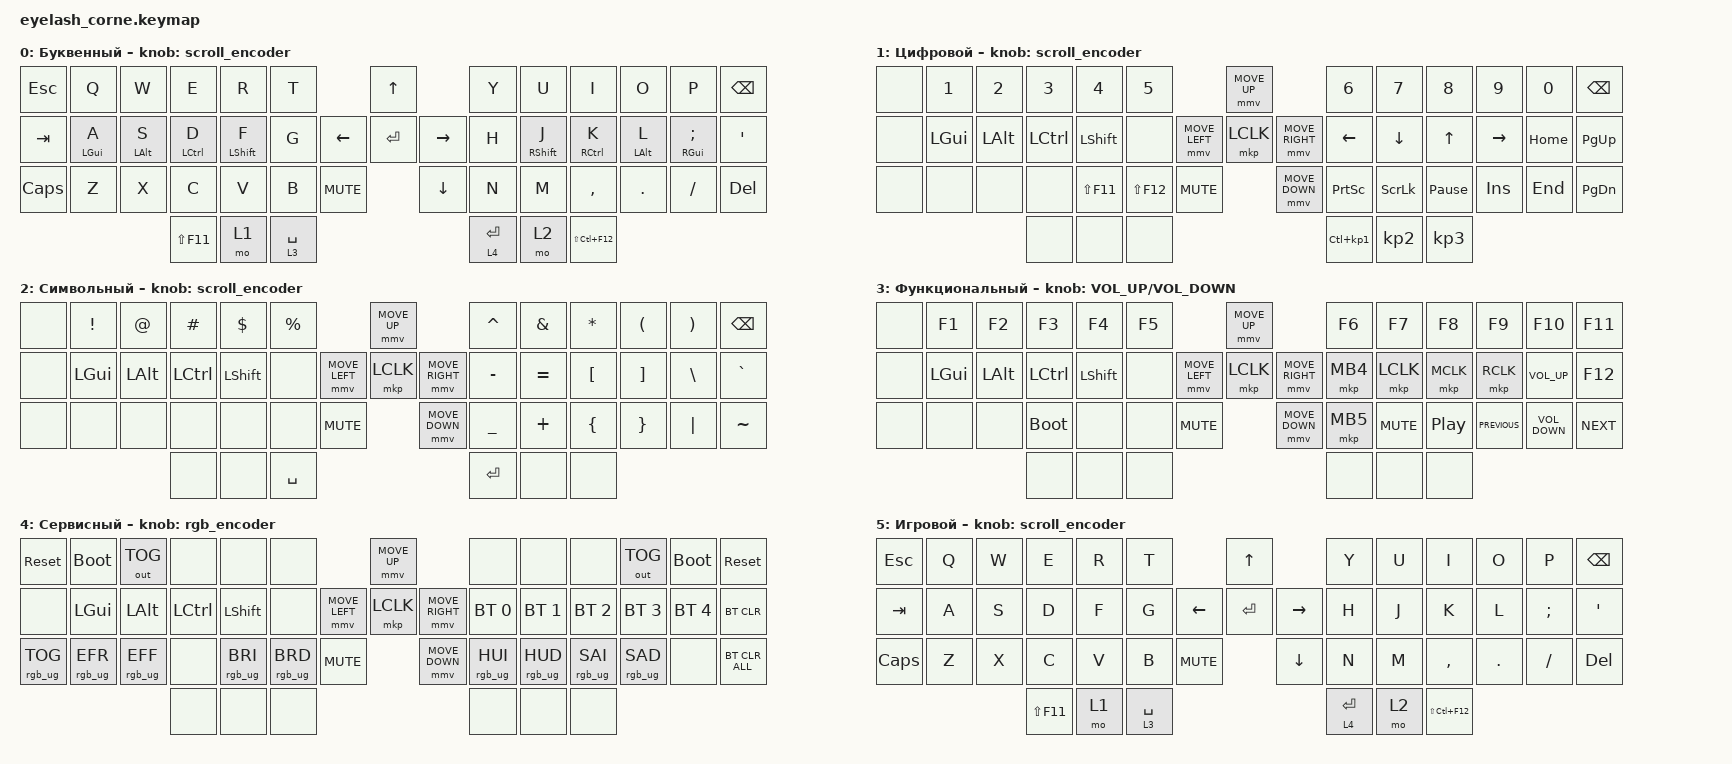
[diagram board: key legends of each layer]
#define ZMK_POINTING_DEFAULT_MOVE_VAL 1200  // 600
#define ZMK_POINTING_DEFAULT_SCRL_VAL 25   // 10

#include <input/processors.dtsi>
#include <zephyr/dt-bindings/input/input-event-codes.h>
#include <behaviors.dtsi>
#include <dt-bindings/zmk/bt.h>
#include <dt-bindings/zmk/keys.h>
#include <dt-bindings/zmk/outputs.h>
#include <dt-bindings/zmk/pointing.h>
#include <dt-bindings/zmk/rgb.h>

&mmv_input_listener { input-processors = <&zip_xy_scaler 2 1>; };

&msc_input_listener { input-processors = <&zip_scroll_scaler 2 1>; };

&msc {
    acceleration-exponent = <1>;      // 0
    time-to-max-speed-ms = <100>;       // 300
    delay-ms = <0>;                   // 0
};

&mmv {
    time-to-max-speed-ms = <500>;
    acceleration-exponent = <1>;
    trigger-period-ms = <16>;
};

&soft_off { hold-time-ms = <2000>; };

/ {
    behaviors {
        td0: td0 {
            compatible = "zmk,behavior-tap-dance";
            display-name = "Shift/Caps Lock Tap Dance";
            #binding-cells = <0>;
            bindings = <&kp LEFT_SHIFT>, <&kp CAPS>;
        };
    };

    rgb_encoder: rgb_encoder {
        compatible = "zmk,behavior-sensor-rotate";
        #sensor-binding-cells = <0>;
        bindings = <&rgb_ug RGB_BRI>, <&rgb_ug RGB_BRD>;
    };

    scroll_encoder: scroll_encoder {
        compatible = "zmk,behavior-sensor-rotate";
        #sensor-binding-cells = <0>;
        bindings = <&msc SCRL_DOWN>, <&msc SCRL_UP>;

        tap-ms = <100>;
    };

    combos {
        compatible = "zmk,combos";

        Tilde {
            bindings = <&kp TILDE>;
            key-positions = <0 13>;
        };

        Left_Parenthesis {
            bindings = <&kp LEFT_PARENTHESIS>;
            key-positions = <3 2>;
        };

        Right_Parenthesis {
            bindings = <&kp RIGHT_PARENTHESIS>;
            key-positions = <9 10>;
        };

        Left_bracket {
            bindings = <&kp LEFT_BRACKET>;
            key-positions = <4 3>;
        };

        Right_bracket {
            bindings = <&kp RIGHT_BRACKET>;
            key-positions = <8 9>;
        };

        Minus {
            bindings = <&kp MINUS>;
            key-positions = <10 11>;
        };

        Plus {
            bindings = <&kp PLUS>;
            key-positions = <11 12>;
        };
    };

    keymap {
        compatible = "zmk,keymap";

        base_layer {
            display-name = "Буквенный";
            bindings = <
&kp ESCAPE    &kp Q           &kp W           &kp E               &kp R             &kp T                                &kp UP                &kp Y        &kp U              &kp I                &kp O           &kp P                    &kp BSPC
&kp TAB       &mt LEFT_GUI A  &mt LEFT_ALT S  &mt LEFT_CONTROL D  &mt LEFT_SHIFT F  &kp G                      &kp LEFT  &kp ENTER  &kp RIGHT  &kp H        &mt RIGHT_SHIFT J  &mt RIGHT_CONTROL K  &mt LEFT_ALT L  &mt RIGHT_GUI SEMICOLON  &kp SQT
&kp CAPSLOCK  &kp Z           &kp X           &kp C               &kp V             &kp B        &kp C_MUTE              &kp DOWN              &kp N        &kp M              &kp COMMA            &kp DOT         &kp FSLH                 &kp DELETE
                                              &kp LS(F11)         &mo 1             &lt 3 SPACE                                                &lt 4 ENTER  &mo 2              &kp LS(LC(F12))
            >;

            sensor-bindings = <&scroll_encoder>;
        };

        lower_layer {
            display-name = "Цифровой";
            bindings = <
&none  &kp N1        &kp N2        &kp N3            &kp N4          &kp N5                                     &mmv MOVE_UP                     &kp N6               &kp N7           &kp N8           &kp N9      &kp N0    &kp BSPC
&none  &kp LEFT_GUI  &kp LEFT_ALT  &kp LEFT_CONTROL  &kp LEFT_SHIFT  &none                      &mmv MOVE_LEFT  &mkp LCLK       &mmv MOVE_RIGHT  &kp LEFT             &kp DOWN         &kp UP           &kp RIGHT   &kp HOME  &kp PG_UP
&none  &none         &none         &none             &kp LS(F11)     &kp LS(F12)  &kp C_MUTE                    &mmv MOVE_DOWN                   &kp PRINTSCREEN      &kp SCROLLLOCK   &kp PAUSE_BREAK  &kp INSERT  &kp END   &kp PG_DN
                                   &none             &none           &none                                                                       &kp LC(KP_NUMBER_1)  &kp KP_NUMBER_2  &kp KP_NUMBER_3
            >;

            sensor-bindings = <&scroll_encoder>;
        };

        raise_layer {
            display-name = "Символьный";
            bindings = <
&none  &kp EXCL      &kp AT        &kp HASH          &kp DLLR        &kp PRCNT                                &mmv MOVE_UP                     &kp CARET  &kp AMPS   &kp ASTRK  &kp LPAR  &kp RPAR  &kp BSPC
&none  &kp LEFT_GUI  &kp LEFT_ALT  &kp LEFT_CONTROL  &kp LEFT_SHIFT  &none                    &mmv MOVE_LEFT  &mkp LCLK       &mmv MOVE_RIGHT  &kp MINUS  &kp EQUAL  &kp LBKT   &kp RBKT  &kp BSLH  &kp GRAVE
&none  &none         &none         &none             &none           &none      &kp C_MUTE                    &mmv MOVE_DOWN                   &kp UNDER  &kp PLUS   &kp LBRC   &kp RBRC  &kp PIPE  &kp TILDE
                                   &none             &none           &kp SPACE                                                                 &kp RET    &none      &none
            >;

            sensor-bindings = <&scroll_encoder>;
        };

        fn_layer {
            display-name = "Функциональный";
            bindings = <
&none  &kp F1        &kp F2        &kp F3            &kp F4          &kp F5                                &mmv MOVE_UP                     &kp F6    &kp F7      &kp F8            &kp F9          &kp F10            &kp F11
&none  &kp LEFT_GUI  &kp LEFT_ALT  &kp LEFT_CONTROL  &kp LEFT_SHIFT  &none                 &mmv MOVE_LEFT  &mkp LCLK       &mmv MOVE_RIGHT  &mkp MB4  &mkp LCLK   &mkp MCLK         &mkp RCLK       &kp C_VOLUME_UP    &kp F12
&none  &none         &none         &bootloader       &none           &none   &kp C_MUTE                    &mmv MOVE_DOWN                   &mkp MB5  &kp C_MUTE  &kp C_PLAY_PAUSE  &kp C_PREVIOUS  &kp C_VOLUME_DOWN  &kp C_NEXT
                                   &none             &none           &none                                                                  &none     &none       &none
            >;

            sensor-bindings = <&inc_dec_kp C_VOLUME_UP C_VOLUME_DOWN>;
        };

        media_bt_layer {
            display-name = "Сервисный";
            bindings = <
&sys_reset       &bootloader      &out OUT_TOG     &none             &none            &none                                          &mmv MOVE_UP                     &none            &none            &none            &out OUT_TOG     &bootloader   &sys_reset
&none            &kp LEFT_GUI     &kp LEFT_ALT     &kp LEFT_CONTROL  &kp LEFT_SHIFT   &none                          &mmv MOVE_LEFT  &mkp LCLK       &mmv MOVE_RIGHT  &bt BT_SEL 0     &bt BT_SEL 1     &bt BT_SEL 2     &bt BT_SEL 3     &bt BT_SEL 4  &bt BT_CLR
&rgb_ug RGB_TOG  &rgb_ug RGB_EFR  &rgb_ug RGB_EFF  &none             &rgb_ug RGB_BRI  &rgb_ug RGB_BRD  &kp C_MUTE                    &mmv MOVE_DOWN                   &rgb_ug RGB_HUI  &rgb_ug RGB_HUD  &rgb_ug RGB_SAI  &rgb_ug RGB_SAD  &none         &bt BT_CLR_ALL
                                                   &none             &none            &none                                                                           &none            &none            &none
            >;

            sensor-bindings = <&rgb_encoder>;
        };

        game_layer {
            display-name = "Игровой";
            bindings = <
&kp ESCAPE    &kp Q  &kp W  &kp E        &kp R  &kp T                                &kp UP                &kp Y        &kp U  &kp I            &kp O    &kp P          &kp BSPC
&kp TAB       &kp A  &kp S  &kp D        &kp F  &kp G                      &kp LEFT  &kp ENTER  &kp RIGHT  &kp H        &kp J  &kp K            &kp L    &kp SEMICOLON  &kp SQT
&kp CAPSLOCK  &kp Z  &kp X  &kp C        &kp V  &kp B        &kp C_MUTE              &kp DOWN              &kp N        &kp M  &kp COMMA        &kp DOT  &kp FSLH       &kp DELETE
                            &kp LS(F11)  &mo 1  &lt 3 SPACE                                                &lt 4 ENTER  &mo 2  &kp LS(LC(F12))
            >;

            sensor-bindings = <&scroll_encoder>;
        };
    };
};
